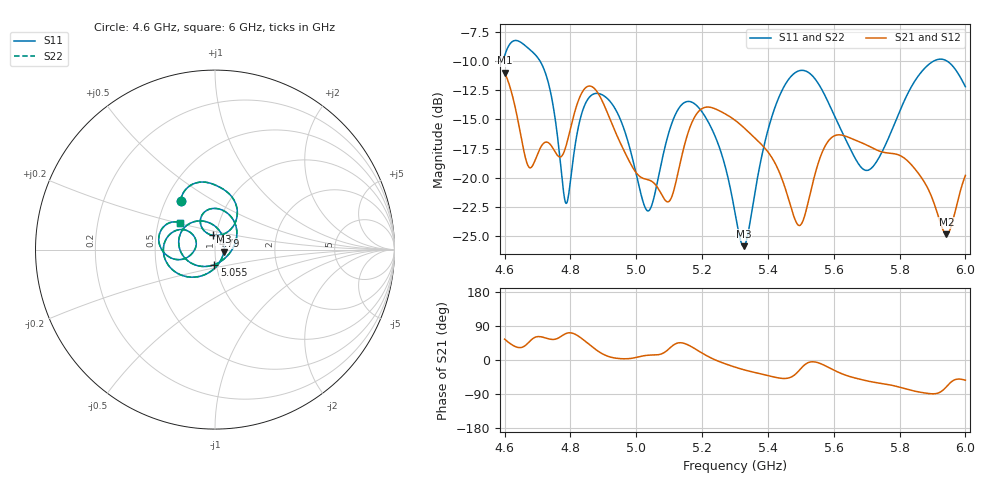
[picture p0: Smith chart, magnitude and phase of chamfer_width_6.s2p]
! TOUCHSTONE file generated by CST MICROWAVE STUDIO
! Date and time: Sun Dec  1 17:26:33 2024
! Project name: test_tuning.cst
! Parameters = {airCoaxOuterDiameter=3; chamferAngle=45; chamferWidth=12; connectorLength=10; drillingHoleDiameter=4.1; feedLength=60; flareDiameter=130; flareLength=70; gratingDistance=0; gratingGap=1.90274; outletLength=30; polarizerLength=134; probe1Diameter=1.3; probe1Distance=14; probe1Length=1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
! Header version: 2024
! Port assignment regex: !\s*Touchstone port\s*([0-9]+)\s*=\s*(CST MWS port|CST DES external port|CST DES block port)\s*(.+)\s* \(\"(.*)\"\)(\s*mode\s*([0-9]+))?.*
! Touchstone port assignment:
! Touchstone port 1 = CST MWS port 1 ("Input1")
! Touchstone port 2 = CST MWS port 2 ("Input2")
# GHz S MA R 50
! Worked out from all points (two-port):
!   1001 points, 4.6 GHz to 6 GHz, reference 50 ohm
!   highest |S21| = -11.02 dB at 4.6 GHz (marker M1); lowest = -24.8 dB at 5.943 GHz (marker M2)
!   |S21| within 3 dB of the highest: start of sweep to 4.633 GHz; 4.817 GHz to 4.906 GHz (89.24 MHz wide, 1.84 % of centre)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
!   lowest |S11| = -25.8 dB at 5.327 GHz (marker M3), VSWR 1.11, Z = 55.2 - j1.22 ohm
!   |S11| at or under -10 dB: 4.707 GHz to 5.905 GHz (1.198 GHz wide, 22.6 % of centre); 5.943 GHz to end of sweep
!   |S22| runs from -25.8 to -8.3 dB; largest |S21 - S12| = 9e-07
!   S11 on the Smith chart (normalised r, x): 4.6 GHz: 0.60, +0.36; 4.79 GHz: 0.97, +0.15; 5.055 GHz: 0.98, -0.17; 6 GHz: 0.65, +0.21
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4.6  0.3321 125.1  0.2811 55.1  0.2812 55.1  0.3321 125.1
4.6714  0.3583 89.3  0.1124 44.9  0.1124 44.9  0.3583 89.3
4.7176  0.2958 69.1  0.1401 59.9  0.1401 59.9  0.2958 69.1
4.7904  0.07914 96.1  0.143 71.0  0.143 71.0  0.07914 96.1
4.8338  0.1872 115.6  0.2296 57.1  0.2296 57.1  0.1872 115.6
4.9178  0.2141 71.0  0.1815 8.7  0.1815 8.7  0.2141 71.0
5.027  0.07457 -34.3  0.09884 11.8  0.09884 11.8  0.07457 -34.3
5.055  0.08371 -92.1  0.09456 13.2  0.09456 13.2  0.08371 -92.1
5.0676  0.1012 -113.4  0.08952 14.1  0.08952 14.1  0.1012 -113.4
5.1054  0.1669 -159.4  0.08144 34.2  0.08144 34.2  0.1669 -159.4
5.1698  0.2102 144.7  0.1732 34.1  0.1732 34.1  0.2102 144.7
5.2454  0.1436 97.1  0.1956 -1.8  0.1956 -1.8  0.1436 97.1
5.3  0.07097 45.7  0.1762 -18.8  0.1762 -18.8  0.07097 45.7
5.3266  0.05104 -12.5  0.164 -25.7  0.164 -25.7  0.05103 -12.5
5.4302  0.2155 -135.3  0.1092 -47.0  0.1092 -47.0  0.2155 -135.3
5.4932  0.2862 -173.2  0.06267 -29.2  0.06267 -29.2  0.2862 -173.2
5.5338  0.274 165.2  0.09204 -4.7  0.09204 -4.7  0.274 165.2
5.5926  0.197 146.5  0.1482 -23.3  0.1482 -23.3  0.197 146.5
5.6878  0.1093 162.4  0.1406 -52.5  0.1406 -52.5  0.1093 162.4
5.7676  0.1492 -165.6  0.1275 -65.0  0.1275 -65.0  0.1492 -165.6
5.9426  0.3163 157.7  0.05739 -70.4  0.05739 -70.4  0.3163 157.7
6  0.2451 142.3  0.1023 -53.4  0.1023 -53.4  0.2451 142.3
